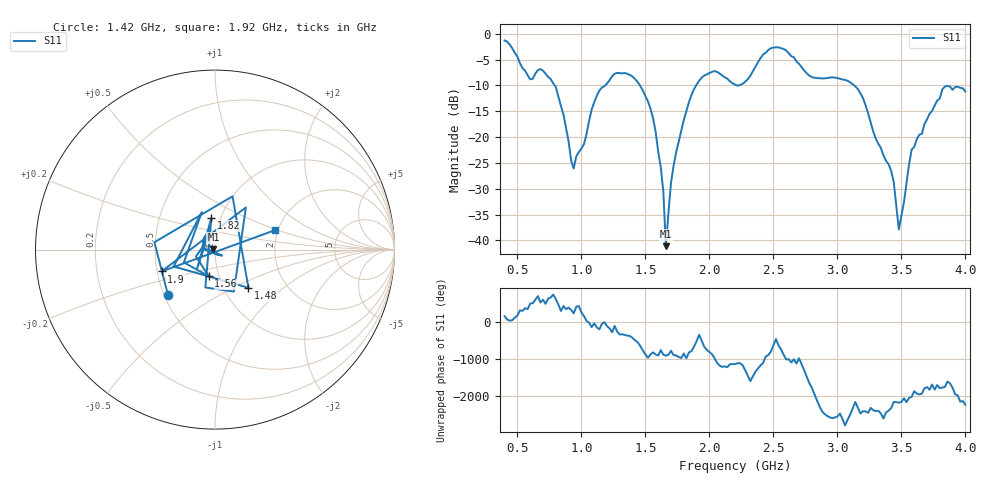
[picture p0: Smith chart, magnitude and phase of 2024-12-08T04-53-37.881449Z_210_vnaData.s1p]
!Created with skrf (http://scikit-rf.org).
# Hz S RI R 50.0
!freq ReS11 ImS11
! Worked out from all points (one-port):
!   181 points, 400 MHz to 4 GHz, reference 50 ohm
!   lowest |S11| = -41.1 dB at 1.66 GHz (marker M1), VSWR 1.02, Z = 49.2 + j0.202 ohm
!   |S11| at or under -10 dB: 791.8 MHz to 1.185 GHz (393.6 MHz wide, 39.8 % of centre); 1.457 GHz to 1.896 GHz (439.1 MHz wide, 26.2 % of centre); 3.131 GHz to end of sweep (the widest 3 of 4)
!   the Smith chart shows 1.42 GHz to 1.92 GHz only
!   S11 on the Smith chart (normalised r, x): 1.42 GHz: 0.52, -0.30; 1.48 GHz: 1.30, -0.60; 1.56 GHz: 0.89, -0.27; 1.82 GHz: 0.90, +0.33; 1.9 GHz: 0.53, -0.14; 1.92 GHz: 1.93, +0.48
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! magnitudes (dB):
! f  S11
! 400 MHz  -1.3
! 600 MHz  -8.8
! 760 MHz  -8.8
! 860 MHz  -15.6
! 940 MHz  -26.1
! 1.12 GHz  -12.0
! 1.3 GHz  -7.6
! 1.42 GHz  -8.8
! 1.48 GHz  -11.0
! 1.56 GHz  -16.4
! 1.64 GHz  -30.5
! 1.66 GHz  -41.1
! 1.7 GHz  -28.9
! 1.76 GHz  -20.9
! 1.82 GHz  -15.0
! 1.9 GHz  -9.8
! 1.92 GHz  -9.1
! 2.2 GHz  -9.8
! 2.48 GHz  -2.8
! 2.66 GHz  -4.5
! 2.8 GHz  -8.4
! 3.1 GHz  -9.4
! 3.2 GHz  -12.5
! 3.42 GHz  -26.5
! 3.48 GHz  -37.9
! 3.56 GHz  -25.3
! 3.82 GHz  -10.7
! 4 GHz  -11.2
